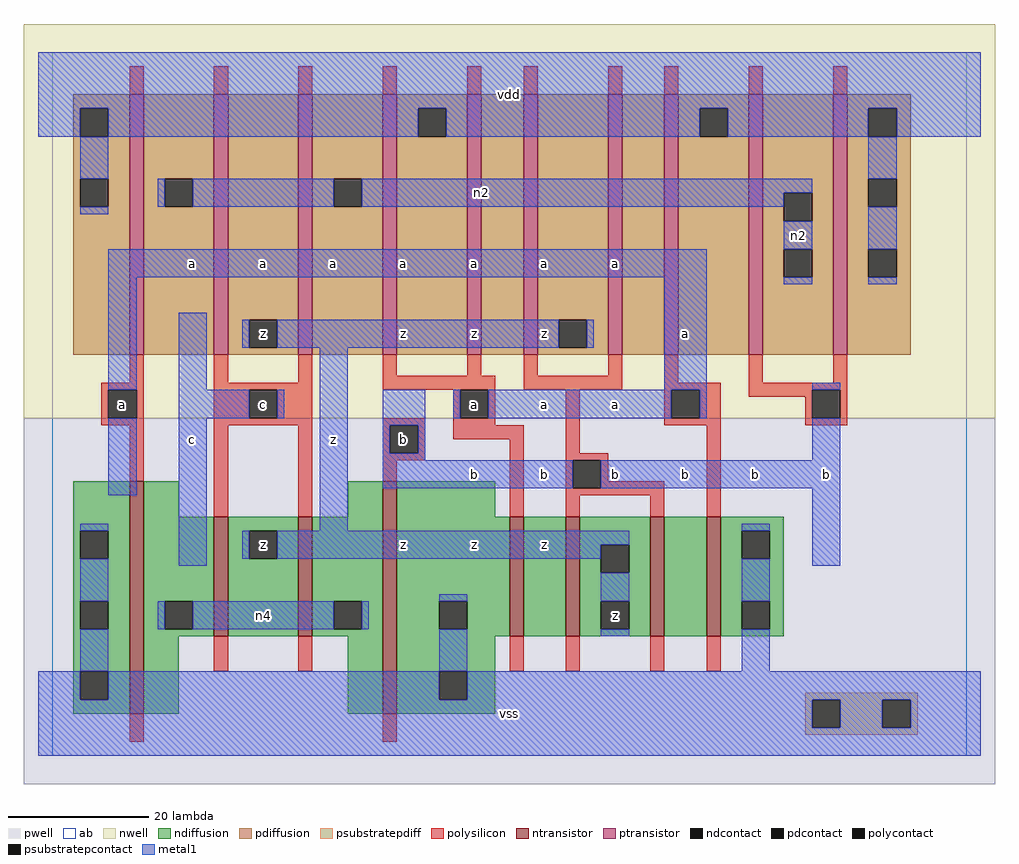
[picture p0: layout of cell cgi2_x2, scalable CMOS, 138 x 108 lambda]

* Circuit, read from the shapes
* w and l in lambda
.subckt cgi2_x2 a b c n2 n4 vdd vss z
M1 n4 a vss vss nfet w=33 l=2
M2 z c n4 vss nfet w=17 l=2 m=2
M3 vss b n4 vss nfet w=33 l=2
M4 n1 a vss vss nfet w=17 l=2
M5 z b n1 vss nfet w=17 l=2
M6 n3 b z vss nfet w=17 l=2
M7 vss a n3 vss nfet w=17 l=2
M8 n2 a vdd n5 pfet w=37 l=2 m=2
M9 z c n2 n5 pfet w=37 l=2 m=2
M10 n6 a vdd n5 pfet w=37 l=2
M11 z b n6 n5 pfet w=37 l=2
M12 n7 b z n5 pfet w=37 l=2
M13 vdd a n7 n5 pfet w=37 l=2
M14 n2 b vdd n5 pfet w=37 l=2 m=2
.ends

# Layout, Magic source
magic
tech scmos
<< ab >>
rect 0 0 130 100
<< pwell >>
rect -4 -4 134 48
<< nwell >>
rect -4 48 134 104
<< polysilicon >>
rect 11 94 13 98
rect 23 94 25 98
rect 35 94 37 98
rect 47 94 49 98
rect 59 94 61 98
rect 67 94 69 98
rect 79 94 81 98
rect 87 94 89 98
rect 99 94 101 98
rect 111 94 113 98
rect 11 53 13 57
rect 7 52 13 53
rect 7 48 8 52
rect 12 48 13 52
rect 7 47 13 48
rect 11 39 13 47
rect 23 53 25 57
rect 35 53 37 57
rect 23 52 37 53
rect 47 54 49 57
rect 59 54 61 57
rect 67 54 69 57
rect 79 54 81 57
rect 47 52 63 54
rect 67 52 81 54
rect 87 53 89 57
rect 99 53 101 57
rect 111 53 113 57
rect 87 52 95 53
rect 23 48 28 52
rect 32 48 37 52
rect 57 48 58 52
rect 62 48 63 52
rect 23 47 37 48
rect 23 34 25 47
rect 35 34 37 47
rect 47 47 53 48
rect 47 43 48 47
rect 52 43 53 47
rect 57 47 63 48
rect 57 45 67 47
rect 47 42 53 43
rect 47 39 49 42
rect 23 12 25 17
rect 35 12 37 17
rect 65 34 67 45
rect 73 43 75 52
rect 87 48 88 52
rect 92 48 95 52
rect 99 52 113 53
rect 99 51 108 52
rect 87 47 95 48
rect 107 48 108 51
rect 112 48 113 52
rect 107 47 113 48
rect 73 42 79 43
rect 73 38 74 42
rect 78 39 79 42
rect 78 38 87 39
rect 73 37 87 38
rect 73 34 75 37
rect 85 34 87 37
rect 93 34 95 47
rect 65 12 67 17
rect 73 12 75 17
rect 85 12 87 17
rect 93 12 95 17
rect 11 2 13 6
rect 47 2 49 6
<< ndiffusion >>
rect 3 32 11 39
rect 3 28 4 32
rect 8 28 11 32
rect 3 22 11 28
rect 3 18 4 22
rect 8 18 11 22
rect 3 12 11 18
rect 3 8 4 12
rect 8 8 11 12
rect 3 6 11 8
rect 13 34 18 39
rect 42 34 47 39
rect 13 22 23 34
rect 13 18 16 22
rect 20 18 23 22
rect 13 17 23 18
rect 25 32 35 34
rect 25 28 28 32
rect 32 28 35 32
rect 25 17 35 28
rect 37 22 47 34
rect 37 18 40 22
rect 44 18 47 22
rect 37 17 47 18
rect 13 6 18 17
rect 42 6 47 17
rect 49 34 63 39
rect 49 22 65 34
rect 49 18 55 22
rect 59 18 65 22
rect 49 17 65 18
rect 67 17 73 34
rect 75 30 85 34
rect 75 26 78 30
rect 82 26 85 30
rect 75 22 85 26
rect 75 18 78 22
rect 82 18 85 22
rect 75 17 85 18
rect 87 17 93 34
rect 95 32 104 34
rect 95 28 98 32
rect 102 28 104 32
rect 95 22 104 28
rect 95 18 98 22
rect 102 18 104 22
rect 95 17 104 18
rect 49 12 63 17
rect 49 8 55 12
rect 59 8 63 12
rect 49 6 63 8
<< pdiffusion >>
rect 3 92 11 94
rect 3 88 4 92
rect 8 88 11 92
rect 3 82 11 88
rect 3 78 4 82
rect 8 78 11 82
rect 3 57 11 78
rect 13 82 23 94
rect 13 78 16 82
rect 20 78 23 82
rect 13 57 23 78
rect 25 62 35 94
rect 25 58 28 62
rect 32 58 35 62
rect 25 57 35 58
rect 37 82 47 94
rect 37 78 40 82
rect 44 78 47 82
rect 37 57 47 78
rect 49 92 59 94
rect 49 88 52 92
rect 56 88 59 92
rect 49 57 59 88
rect 61 57 67 94
rect 69 62 79 94
rect 69 58 72 62
rect 76 58 79 62
rect 69 57 79 58
rect 81 57 87 94
rect 89 92 99 94
rect 89 88 92 92
rect 96 88 99 92
rect 89 57 99 88
rect 101 80 111 94
rect 101 76 104 80
rect 108 76 111 80
rect 101 72 111 76
rect 101 68 104 72
rect 108 68 111 72
rect 101 57 111 68
rect 113 92 122 94
rect 113 88 116 92
rect 120 88 122 92
rect 113 82 122 88
rect 113 78 116 82
rect 120 78 122 82
rect 113 72 122 78
rect 113 68 116 72
rect 120 68 122 72
rect 113 57 122 68
<< metal1 >>
rect -2 92 132 100
rect -2 88 4 92
rect 8 88 52 92
rect 56 88 92 92
rect 96 88 116 92
rect 120 88 132 92
rect 4 82 8 88
rect 116 82 120 88
rect 15 78 16 82
rect 20 78 40 82
rect 44 80 108 82
rect 44 78 104 80
rect 4 77 8 78
rect 104 72 108 76
rect 8 68 93 72
rect 8 52 12 68
rect 8 37 12 48
rect 18 52 22 63
rect 27 58 28 62
rect 32 58 72 62
rect 76 58 77 62
rect 18 48 28 52
rect 32 48 33 52
rect 4 32 8 33
rect 4 22 8 28
rect 18 27 22 48
rect 38 32 42 58
rect 87 52 93 68
rect 104 67 108 68
rect 116 72 120 78
rect 116 67 120 68
rect 47 47 53 52
rect 57 48 58 52
rect 62 48 88 52
rect 92 48 93 52
rect 108 52 112 53
rect 47 43 48 47
rect 52 43 53 47
rect 47 42 53 43
rect 108 42 112 48
rect 47 38 74 42
rect 78 38 112 42
rect 98 32 102 33
rect 27 28 28 32
rect 32 30 82 32
rect 32 28 78 30
rect 55 22 59 23
rect 15 18 16 22
rect 20 18 40 22
rect 44 18 45 22
rect 4 12 8 18
rect 55 12 59 18
rect 78 22 82 26
rect 78 17 82 18
rect 98 22 102 28
rect 108 27 112 38
rect 98 12 102 18
rect -2 8 4 12
rect 8 8 55 12
rect 59 8 132 12
rect -2 4 108 8
rect 112 4 118 8
rect 122 4 132 8
rect -2 0 132 4
<< ntransistor >>
rect 11 6 13 39
rect 23 17 25 34
rect 35 17 37 34
rect 47 6 49 39
rect 65 17 67 34
rect 73 17 75 34
rect 85 17 87 34
rect 93 17 95 34
<< ptransistor >>
rect 11 57 13 94
rect 23 57 25 94
rect 35 57 37 94
rect 47 57 49 94
rect 59 57 61 94
rect 67 57 69 94
rect 79 57 81 94
rect 87 57 89 94
rect 99 57 101 94
rect 111 57 113 94
<< polycontact >>
rect 8 48 12 52
rect 28 48 32 52
rect 58 48 62 52
rect 48 43 52 47
rect 88 48 92 52
rect 108 48 112 52
rect 74 38 78 42
<< ndcontact >>
rect 4 28 8 32
rect 4 18 8 22
rect 4 8 8 12
rect 16 18 20 22
rect 28 28 32 32
rect 40 18 44 22
rect 55 18 59 22
rect 78 26 82 30
rect 78 18 82 22
rect 98 28 102 32
rect 98 18 102 22
rect 55 8 59 12
<< pdcontact >>
rect 4 88 8 92
rect 4 78 8 82
rect 16 78 20 82
rect 28 58 32 62
rect 40 78 44 82
rect 52 88 56 92
rect 72 58 76 62
rect 92 88 96 92
rect 104 76 108 80
rect 104 68 108 72
rect 116 88 120 92
rect 116 78 120 82
rect 116 68 120 72
<< psubstratepcontact >>
rect 108 4 112 8
rect 118 4 122 8
<< psubstratepdiff >>
rect 107 8 123 9
rect 107 4 108 8
rect 112 4 118 8
rect 122 4 123 8
rect 107 3 123 4
<< labels >>
rlabel polycontact 10 50 10 50 6 a
rlabel metal1 20 45 20 45 6 c
rlabel metal1 20 70 20 70 6 a
rlabel metal1 30 20 30 20 6 n4
rlabel ndcontact 30 30 30 30 6 z
rlabel metal1 40 45 40 45 6 z
rlabel polycontact 30 50 30 50 6 c
rlabel pdcontact 30 60 30 60 6 z
rlabel metal1 30 70 30 70 6 a
rlabel metal1 40 70 40 70 6 a
rlabel metal1 65 6 65 6 6 vss
rlabel metal1 50 30 50 30 6 z
rlabel metal1 70 30 70 30 6 z
rlabel metal1 60 30 60 30 6 z
rlabel metal1 60 40 60 40 6 b
rlabel metal1 70 40 70 40 6 b
rlabel polycontact 50 45 50 45 6 b
rlabel metal1 70 50 70 50 6 a
rlabel polycontact 60 50 60 50 6 a
rlabel metal1 70 60 70 60 6 z
rlabel metal1 60 60 60 60 6 z
rlabel metal1 50 60 50 60 6 z
rlabel metal1 50 70 50 70 6 a
rlabel metal1 60 70 60 70 6 a
rlabel metal1 70 70 70 70 6 a
rlabel metal1 65 94 65 94 6 vdd
rlabel ndcontact 80 20 80 20 6 z
rlabel metal1 100 40 100 40 6 b
rlabel metal1 90 40 90 40 6 b
rlabel metal1 80 40 80 40 6 b
rlabel metal1 80 50 80 50 6 a
rlabel metal1 90 60 90 60 6 a
rlabel metal1 80 70 80 70 6 a
rlabel metal1 110 40 110 40 6 b
rlabel metal1 106 74 106 74 6 n2
rlabel metal1 61 80 61 80 6 n2
<< end >>
